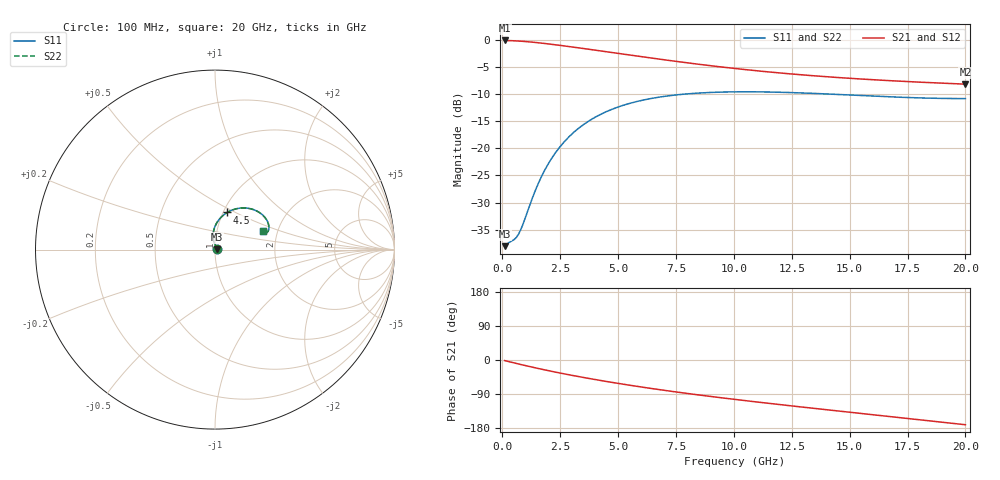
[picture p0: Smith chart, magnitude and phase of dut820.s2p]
! Touchstone file exported from HFSS 2024.1.0
!  File:  C:/UserFiles/LocalFiles/RDL_TSV_Batchsim/temp_RDL_TSV_820_1779914939.aedt
!  Generated:  05:05:34 AM May 28, 2026
!  Design:  RDL_TSV
!  Project:  temp_RDL_TSV_820_1779914939
!  Setup:  Setup1
!  Solution:  Sweep
! Variables:
!  dtsv = 8.17um
!  hbump = 3um
!  htsv = 68.57um
!  ldown = 301.91um
!  lrdl = 387.1um
!  p = 40
!  p1 = 55.92um
!  rhole = 10um
!  subl = 2454.13um
!  t = 450um
!  tdown = 2.44um
!  trdl = 4.8um
!  viad = 10um
!  wdown = 18.8um
!  wrdl = 26.4um
!  xbump = 18um
# GHz S MA R 50.000000
! Terminal data exported
! Port[1] = TM1_1_T1
! Port[2] = TM1_4_T1
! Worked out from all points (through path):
!   200 points, 100 MHz to 20 GHz, reference 50 ohm
!   highest |S21| = -0.11 dB at 100 MHz (marker M1); lowest = -8.2 dB at 20 GHz (marker M2)
!   group delay of S21, straight-line fit = 22.3 ps
!   lowest |S11| = -38.0 dB at 100 MHz (marker M3), VSWR 1.03, Z = 51.2 + j0.231 ohm
!   |S11| at or under -10 dB: start of sweep to 7.867 GHz; 14.17 GHz to end of sweep
!   |S22| runs from -38.0 to -9.6 dB; largest |S21 - S12| = 9.7e-15
!   S11 on the Smith chart (normalised r, x): 100 MHz: 1.02, +0.00; 4.5 GHz: 1.05, +0.45; 20 GHz: 1.68, +0.37
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0.1  0.01255 10.4  0.9873 -1.5  0.9873 -1.5  0.01255 10.4
! Gamma 0 0 0 0
! Port Impedance 50 0 50 0
0.5  0.01436 42.4  0.9805 -7.5  0.9805 -7.5  0.01437 42.4
0.7  0.01615 60.9  0.9752 -10.5  0.9752 -10.5  0.01616 60.9
0.9  0.02017 77.4  0.9686 -13.4  0.9686 -13.4  0.02017 77.4
1.3  0.03485 95.0  0.9524 -19.0  0.9524 -19.0  0.03483 94.9
1.5  0.04457 98.0  0.9429 -21.7  0.9429 -21.7  0.04454 98.0
1.8  0.06104 99.1  0.9277 -25.7  0.9277 -25.7  0.06099 99.1
2.1  0.07895 97.8  0.9116 -29.5  0.9116 -29.5  0.07888 97.8
2.4  0.09761 95.4  0.8949 -33.3  0.8949 -33.3  0.09753 95.3
2.7  0.1165 92.3  0.8779 -36.9  0.8779 -36.9  0.1164 92.2
3.1  0.1414 87.7  0.8552 -41.6  0.8552 -41.6  0.1412 87.7
3.5  0.1652 83.1  0.8325 -46.1  0.8325 -46.1  0.1651 83.0
4  0.1931 77.3  0.8046 -51.5  0.8046 -51.5  0.1929 77.2
4.5  0.2182 71.7  0.7773 -56.7  0.7773 -56.7  0.2179 71.7
5.6  0.2632 60.8  0.7201 -67.5  0.7201 -67.5  0.2629 60.7
6.8  0.2972 50.6  0.6635 -78.4  0.6635 -78.4  0.2968 50.6
8.4  0.3226 39.9  0.5986 -91.6  0.5986 -91.6  0.3221 39.8
10.1  0.3319 31.2  0.543 -104.4  0.543 -104.4  0.3313 31.2
11.7  0.33 25.3  0.5017 -115.7  0.5017 -115.7  0.3294 25.2
13.4  0.3213 21.0  0.4674 -127.2  0.4674 -127.2  0.3207 21.0
16.7  0.2987 18.0  0.421 -149.0  0.421 -149.0  0.298 18.0
20  0.2876 20.7  0.3907 -170.8  0.3907 -170.8  0.2868 20.7
